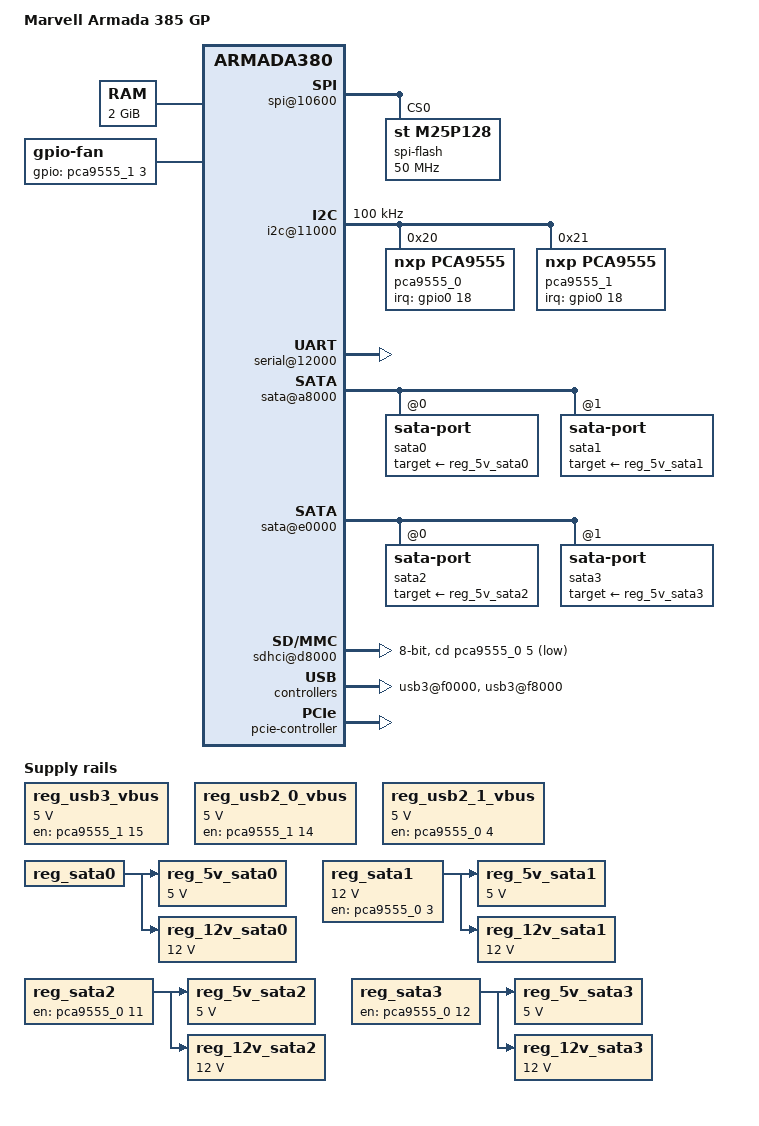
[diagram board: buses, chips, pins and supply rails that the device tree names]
/*
 * Device Tree file for Marvell Armada 385 development board
 * (RD-88F6820-GP)
 *
 * Copyright (C) 2014 Marvell
 *
 * Gregory CLEMENT <gregory.clement@free-electrons.com>
 *
 * This file is dual-licensed: you can use it either under the terms
 * of the GPL or the X11 license, at your option. Note that this dual
 * licensing only applies to this file, and not this project as a
 * whole.
 *
 *  a) This file is licensed under the terms of the GNU General Public
 *     License version 2.  This program is licensed "as is" without
 *     any warranty of any kind, whether express or implied.
 *
 * Or, alternatively,
 *
 *  b) Permission is hereby granted, free of charge, to any person
 *     obtaining a copy of this software and associated documentation
 *     files (the "Software"), to deal in the Software without
 *     restriction, including without limitation the rights to use,
 *     copy, modify, merge, publish, distribute, sublicense, and/or
 *     sell copies of the Software, and to permit persons to whom the
 *     Software is furnished to do so, subject to the following
 *     conditions:
 *
 *     The above copyright notice and this permission notice shall be
 *     included in all copies or substantial portions of the Software.
 *
 *     THE SOFTWARE IS PROVIDED "AS IS", WITHOUT WARRANTY OF ANY KIND,
 *     EXPRESS OR IMPLIED, INCLUDING BUT NOT LIMITED TO THE WARRANTIES
 *     OF MERCHANTABILITY, FITNESS FOR A PARTICULAR PURPOSE AND
 *     NONINFRINGEMENT. IN NO EVENT SHALL THE AUTHORS OR COPYRIGHT
 *     HOLDERS BE LIABLE FOR ANY CLAIM, DAMAGES OR OTHER LIABILITY,
 *     WHETHER IN AN ACTION OF CONTRACT, TORT OR OTHERWISE, ARISING
 *     FROM, OUT OF OR IN CONNECTION WITH THE SOFTWARE OR THE USE OR
 *     OTHER DEALINGS IN THE SOFTWARE.
 */

/dts-v1/;
#include "armada-385.dtsi"
#include <dt-bindings/gpio/gpio.h>

/ {
	model = "Marvell Armada 385 GP";
	compatible = "marvell,a385-gp", "marvell,armada385", "marvell,armada380";

	chosen {
		bootargs = "console=ttyS0,115200 earlyprintk";
	};

	memory {
		device_type = "memory";
		reg = <0x00000000 0x80000000>; /* 2 GB */
	};

	cpus {
		pm_pic {
			ctrl-gpios = <&gpio1 1 GPIO_ACTIVE_LOW>,
				     <&gpio1 2 GPIO_ACTIVE_LOW>,
				     <&gpio1 3 GPIO_ACTIVE_LOW>;
		};
	};

	soc {
		ranges = <MBUS_ID(0xf0, 0x01) 0 0xf1000000 0x100000
			  MBUS_ID(0x01, 0x1d) 0 0xfff00000 0x100000>;

		internal-regs {
			spi@10600 {
				status = "okay";

				spi-flash@0 {
					#address-cells = <1>;
					#size-cells = <1>;
					compatible = "st,m25p128";
					reg = <0>; /* Chip select 0 */
					spi-max-frequency = <50000000>;
					m25p,fast-read;
				};
			};

			i2c@11000 {
				status = "okay";
				clock-frequency = <100000>;

				pca9555_0: pca9555@20 {
					compatible = "nxp,pca9555";
					pinctrl-names = "default";
					pinctrl-0 = <&pca0_pins>;
					interrupt-parent = <&gpio0>;
					interrupts = <18 IRQ_TYPE_EDGE_FALLING>;
					gpio-controller;
					#gpio-cells = <2>;
					interrupt-controller;
					#interrupt-cells = <2>;
					reg = <0x20>;
				};

				pca9555_1: pca9555@21 {
					compatible = "nxp,pca9555";
					pinctrl-names = "default";
					interrupt-parent = <&gpio0>;
					interrupts = <18 IRQ_TYPE_EDGE_FALLING>;

					gpio-controller;
					#gpio-cells = <2>;
					interrupt-controller;
					#interrupt-cells = <2>;

					reg = <0x21>;
				};

			};

			serial@12000 {
				status = "okay";
			};

			ethernet@30000 {
				status = "disabled";
				phy = <&phy0>;
				phy-mode = "rgmii-id";
			};

			usb@50000 {
				vcc-supply = <&reg_usb2_0_vbus>;
				status = "disabled";
			};

			ethernet@70000 {
				status = "disabled";
				phy = <&phy1>;
				phy-mode = "rgmii-id";
			};


			mdio@72004 {
				status = "disabled";
				phy0: ethernet-phy@0 {
					reg = <0>;
				};

				phy1: ethernet-phy@1 {
					reg = <1>;
				};
			};

			sata@a8000 {
				nr-ports = <2>;
				status = "okay";
				#address-cells = <1>;
				#size-cells = <0>;

				sata0: sata-port@0 {
					reg = <0>;
					target-supply = <&reg_5v_sata0>;
				};

				sata1: sata-port@1 {
					reg = <1>;
					target-supply = <&reg_5v_sata1>;
				};
			};

			sata@e0000 {
				nr-ports = <2>;
				status = "okay";
				#address-cells = <1>;
				#size-cells = <0>;

				sata2: sata-port@0 {
					reg = <0>;
					target-supply = <&reg_5v_sata2>;
				};

				sata3: sata-port@1 {
					reg = <1>;
					target-supply = <&reg_5v_sata3>;
				};
			};

			sdhci@d8000 {
				clock-frequency = <200000000>;
				cd-gpios = <&pca9555_0 5 GPIO_ACTIVE_LOW>;
				no-1-8-v;
				wp-inverted;
				bus-width = <8>;
				status = "okay";
			};

			usb3@f0000 {
				vcc-supply = <&reg_usb2_1_vbus>;
				status = "okay";
			};

			usb3@f8000 {
				vcc-supply = <&reg_usb3_vbus>;
				status = "okay";
			};
		};

		pcie-controller {
			status = "okay";
			/*
			 * One PCIe units is accessible through
			 * standard PCIe slot on the board.
			 */
			pcie@1,0 {
				/* Port 0, Lane 0 */
				status = "okay";
			};

			/*
			 * The two other PCIe units are accessible
			 * through mini PCIe slot on the board.
			 */
			pcie@2,0 {
				/* Port 1, Lane 0 */
				status = "okay";
			};
			pcie@3,0 {
				/* Port 2, Lane 0 */
				status = "okay";
			};
		};

		gpio-fan {
			compatible = "gpio-fan";
			gpios = <&pca9555_1 3 GPIO_ACTIVE_HIGH>;
			gpio-fan,speed-map = <0 0 3000 1>;
		};
	};

	reg_usb3_vbus: usb3-vbus {
		compatible = "regulator-fixed";
		regulator-name = "usb3-vbus";
		regulator-min-microvolt = <5000000>;
		regulator-max-microvolt = <5000000>;
		enable-active-high;
		regulator-always-on;
		gpio = <&pca9555_1 15 GPIO_ACTIVE_HIGH>;
	};

	reg_usb2_0_vbus: v5-vbus0 {
		compatible = "regulator-fixed";
		regulator-name = "v5.0-vbus0";
		regulator-min-microvolt = <5000000>;
		regulator-max-microvolt = <5000000>;
		enable-active-high;
		regulator-always-on;
		gpio = <&pca9555_1 14 GPIO_ACTIVE_HIGH>;
	};

	reg_usb2_1_vbus: v5-vbus1 {
		compatible = "regulator-fixed";
		regulator-name = "v5.0-vbus1";
		regulator-min-microvolt = <5000000>;
		regulator-max-microvolt = <5000000>;
		enable-active-high;
		regulator-always-on;
		gpio = <&pca9555_0 4 GPIO_ACTIVE_HIGH>;
	};

	reg_usb2_1_vbus: v5-vbus1 {
		compatible = "regulator-fixed";
		regulator-name = "v5.0-vbus1";
		regulator-min-microvolt = <5000000>;
		regulator-max-microvolt = <5000000>;
		enable-active-high;
		regulator-always-on;
		gpio = <&pca9555_0 4 GPIO_ACTIVE_HIGH>;
	};

	reg_sata0: pwr-sata0 {
		compatible = "regulator-fixed";
		regulator-name = "pwr_en_sata0";
		enable-active-high;
		regulator-always-on;

	};

	reg_5v_sata0: v5-sata0 {
		compatible = "regulator-fixed";
		regulator-name = "v5.0-sata0";
		regulator-min-microvolt = <5000000>;
		regulator-max-microvolt = <5000000>;
		regulator-always-on;
		vin-supply = <&reg_sata0>;
	};

	reg_12v_sata0: v12-sata0 {
		compatible = "regulator-fixed";
		regulator-name = "v12.0-sata0";
		regulator-min-microvolt = <12000000>;
		regulator-max-microvolt = <12000000>;
		regulator-always-on;
		vin-supply = <&reg_sata0>;
	};

	reg_sata1: pwr-sata1 {
		regulator-name = "pwr_en_sata1";
		compatible = "regulator-fixed";
		regulator-min-microvolt = <12000000>;
		regulator-max-microvolt = <12000000>;
		enable-active-high;
		regulator-always-on;
		gpio = <&pca9555_0 3 GPIO_ACTIVE_HIGH>;
	};

	reg_5v_sata1: v5-sata1 {
		compatible = "regulator-fixed";
		regulator-name = "v5.0-sata1";
		regulator-min-microvolt = <5000000>;
		regulator-max-microvolt = <5000000>;
		regulator-always-on;
		vin-supply = <&reg_sata1>;
	};

	reg_12v_sata1: v12-sata1 {
		compatible = "regulator-fixed";
		regulator-name = "v12.0-sata1";
		regulator-min-microvolt = <12000000>;
		regulator-max-microvolt = <12000000>;
		regulator-always-on;
		vin-supply = <&reg_sata1>;
	};

	reg_sata2: pwr-sata2 {
		compatible = "regulator-fixed";
		regulator-name = "pwr_en_sata2";
		enable-active-high;
		regulator-always-on;
		gpio = <&pca9555_0 11 GPIO_ACTIVE_HIGH>;
	};

	reg_5v_sata2: v5-sata2 {
		compatible = "regulator-fixed";
		regulator-name = "v5.0-sata2";
		regulator-min-microvolt = <5000000>;
		regulator-max-microvolt = <5000000>;
		regulator-always-on;
		vin-supply = <&reg_sata2>;
	};

	reg_12v_sata2: v12-sata2 {
		compatible = "regulator-fixed";
		regulator-name = "v12.0-sata2";
		regulator-min-microvolt = <12000000>;
		regulator-max-microvolt = <12000000>;
		regulator-always-on;
		vin-supply = <&reg_sata2>;
	};

	reg_sata3: pwr-sata3 {
		compatible = "regulator-fixed";
		regulator-name = "pwr_en_sata3";
		enable-active-high;
		regulator-always-on;
		gpio = <&pca9555_0 12 GPIO_ACTIVE_HIGH>;
	};

	reg_5v_sata3: v5-sata3 {
		compatible = "regulator-fixed";
		regulator-name = "v5.0-sata3";
		regulator-min-microvolt = <5000000>;
		regulator-max-microvolt = <5000000>;
		regulator-always-on;
		vin-supply = <&reg_sata3>;
	};

	reg_12v_sata3: v12-sata3 {
		compatible = "regulator-fixed";
		regulator-name = "v12.0-sata3";
		regulator-min-microvolt = <12000000>;
		regulator-max-microvolt = <12000000>;
		regulator-always-on;
		vin-supply = <&reg_sata3>;
	};
};

&pinctrl {
	pca0_pins: pca0_pins {
		marvell,pins = "mpp18";
		marvell,function = "gpio";
	};

	pic_pins: pic-pins-0 {
		marvell,pins = "mpp33", "mpp34", "mpp35";
		marvell,function = "gpio";
	};
};
